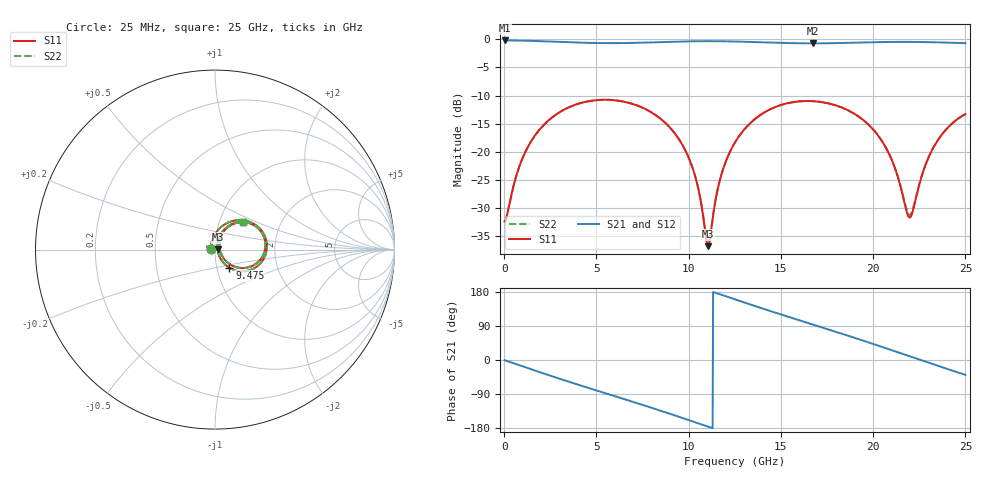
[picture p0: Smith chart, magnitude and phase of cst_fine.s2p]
! thru_BV_vna_clk_w5_out: 2×thru In3.Cu, 6 mm
! stackup: as the board case
! ports: 1 near, 2 far
! CST Studio Suite 2025.5 Release from 2025-05-30, time domain (FIT, hexahedral, PBA), 216876 mesh cells, 43 s
! mesh: {'lpw': 30.0, 'lpb': 30.0, 'minstep': 0.0, 'ratio': 20}; ports: port 1 (face); port 2 (face)
! interpolated from CST's 1001 samples to the case grid
# Hz S RI R 50
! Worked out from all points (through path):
!   1000 points, 25 MHz to 25 GHz, reference 50 ohm
!   highest |S21| = -0.22 dB at 25 MHz (marker M1); lowest = -0.7 dB at 16.75 GHz (marker M2)
!   group delay of S21, straight-line fit = 44.2 ps
!   lowest |S11| = -36.7 dB at 11.05 GHz (marker M3), VSWR 1.03, Z = 51.5 + j0.142 ohm
!   |S11| at or under -10 dB: start of sweep to end of sweep
!   |S22| runs from -36.5 to -10.7 dB; largest |S21 - S12| = 4.6e-07
!   S11 on the Smith chart (normalised r, x): 25 MHz: 0.95, +0.00; 9.475 GHz: 1.15, -0.24; 25 GHz: 1.29, +0.41
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2.5e7  -0.024 0.00233  0.9747 -0.00713  0.9747 -0.00713  -0.024 0.00233
8e8  -0.00761 0.0721  0.9459 -0.2253  0.9459 -0.2253  -0.00763 0.0721
1.55e9  0.0343 0.1263  0.8693 -0.4213  0.8693 -0.4213  0.0342 0.1264
2.7e9  0.1279 0.1643  0.6776 -0.6677  0.6776 -0.6677  0.1278 0.1644
4.2e9  0.2437 0.1228  0.3472 -0.8643  0.3472 -0.8643  0.2436 0.1231
6.3e9  0.2815 -0.0287  -0.1603 -0.9094  -0.1603 -0.9094  0.2816 -0.0281
8.35e9  0.1649 -0.1209  -0.6267 -0.7023  -0.6267 -0.7023  0.1653 -0.1204
9.475e9  0.0803 -0.1017  -0.8242 -0.4785  -0.8242 -0.4785  0.0808 -0.1014
1.035e10  0.032 -0.0521  -0.9229 -0.2606  -0.9229 -0.2606  0.0324 -0.0519
1.105e10  0.0145 0.00138  -0.958 -0.0699  -0.958 -0.0699  0.0149 0.00143
1.1725e10  0.0192 0.0556  -0.9521 0.1171  -0.9521 0.1171  0.0194 0.0556
1.2525e10  0.051 0.1112  -0.8955 0.3295  -0.8955 0.3295  0.051 0.1113
1.345e10  0.113 0.1491  -0.7718 0.5452  -0.7718 0.5452  0.1128 0.1493
1.4625e10  0.2014 0.1438  -0.5488 0.7528  -0.5488 0.7528  0.201 0.1443
1.6675e10  0.2809 0.0284  -0.072 0.9161  -0.072 0.9161  0.2808 0.0296
1.675e10  0.2809 0.0232  -0.0537 0.9173  -0.0537 0.9173  0.2809 0.0244
1.92e10  0.1806 -0.1002  0.5316 0.7667  0.5316 0.7667  0.1815 -0.0989
2.085e10  0.067 -0.0703  0.8306 0.4512  0.8306 0.4512  0.0684 -0.0695
2.2e10  0.0255 0.00595  0.9337 0.1564  0.9337 0.1564  0.0268 0.0062
2.275e10  0.0296 0.0634  0.9425 -0.0475  0.9425 -0.0475  0.0306 0.0634
2.325e10  0.0462 0.0978  0.9224 -0.1811  0.9224 -0.1811  0.047 0.0977
2.5e10  0.1555 0.1513  0.7133 -0.5844  0.7133 -0.5844  0.1555 0.1514
